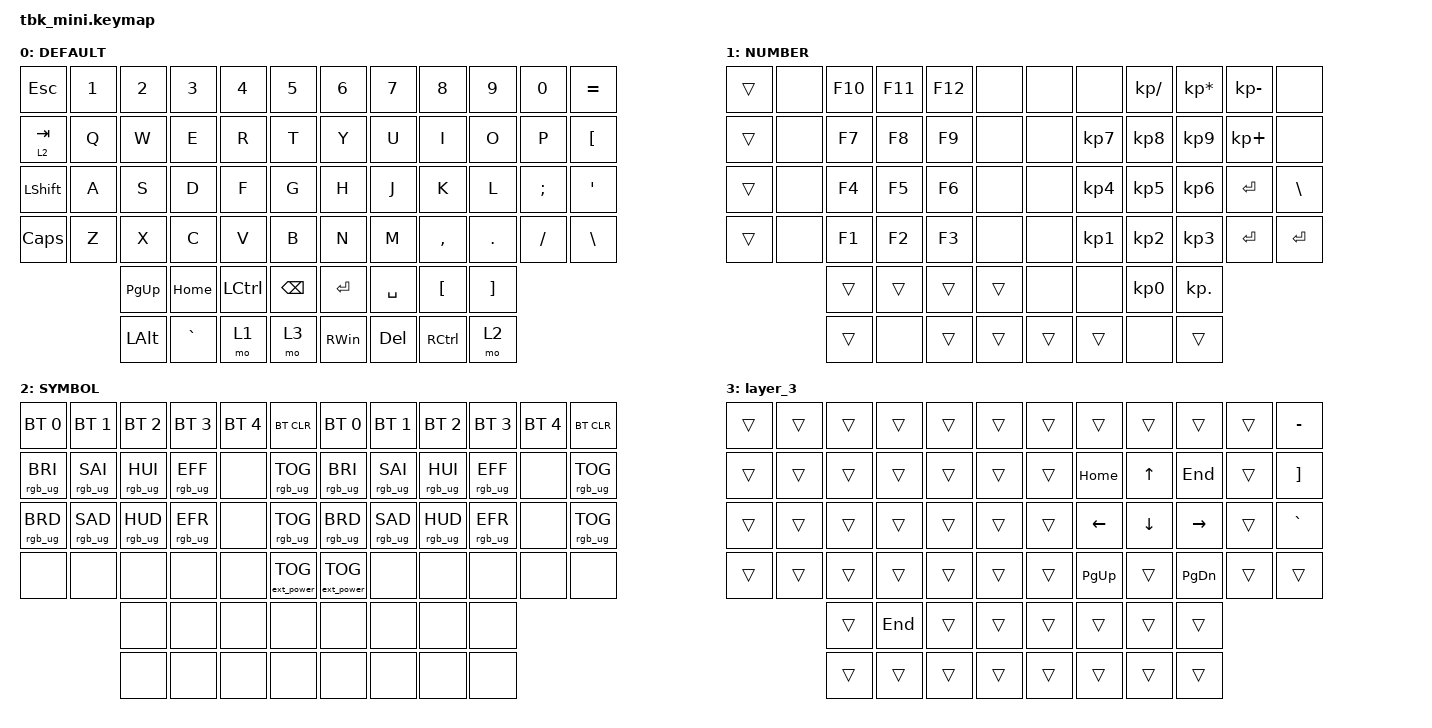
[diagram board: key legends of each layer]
/*
 * Copyright (c) 2020 The ZMK Contributors
 *
 * SPDX-License-Identifier: MIT
 */

#include <behaviors.dtsi>
#include <dt-bindings/zmk/bt.h>
#include <dt-bindings/zmk/ext_power.h>
#include <dt-bindings/zmk/keys.h>
#include <dt-bindings/zmk/rgb.h>

#define DEFAULT 0
#define NUMBER  1
#define SYMBOL  2
#define HOTKEY  3
#define SETTING 4

#define AS(keycode) &as LS(keycode) keycode

/ {
    behaviors {
        td0: tap_dance_0 {
            compatible = "zmk,behavior-tap-dance";
            label = "TAP_DANCE_0";
            #binding-cells = <0>;
            tapping-term-ms = <200>;
            bindings = <&mo 1>, <&to 1>, <&to 1>;
        };
    };

    behaviors {
        as: auto_shift {
            compatible = "zmk,behavior-hold-tap";
            label = "AUTO_SHIFT";
            #binding-cells = <2>;
            tapping-term-ms = <160>;
            quick-tap-ms = <0>;
            flavor = "tap-preferred";
            bindings = <&kp>, <&kp>;
        };

        modcp: mod_copy {
            compatible = "zmk,behavior-mod-morph";
            label = "MOD_COPY";
            #binding-cells = <0>;
            bindings = <&as LS(C) C>, <&kp C>;

            mods = <(LGUI | RGUI)>;
        };
    };

    macros {
        macro_phone: macro_phone {
            // 1351

            label = "MACRO_PHONE";
            compatible = "zmk,behavior-macro";
            #binding-cells = <0>;
            bindings = <&kp N1 &kp N3 &kp N5 &kp N1>;
        };

        macro_email_g: macro_email_g {
            // 135115

            compatible = "zmk,behavior-macro";
            label = "MACRO_EMAIL_GMAIL";
            #binding-cells = <0>;
            bindings = <&kp N1 &kp N3 &kp N5 &kp N1 &kp N1 &kp N5>;
        };
    };

    combos {
        compatible = "zmk,combos";

        combo_esc {
            timeout-ms = <50>;
            key-positions = <14 15 13 16>;
            bindings = <&kp ESC>;
        };

        combo_LSHFT {
            timeout-ms = <50>;
            key-positions = <26 27>;
            bindings = <&kp  LSHFT>;
        };

        RW {
            bindings = <&kp RIGHT_WIN>;
            key-positions = <7 8 9>;
        };

        MYENTER {
            bindings = <&kp ENTER>;
            key-positions = <31 32 33>;
        };
    };

    keymap {
        compatible = "zmk,keymap";

        default_layer {
            label = "DEFAULT";
            bindings = <
&kp ESC       &kp N1  &kp N2       &kp N3     &kp N4     &kp N5    &kp N6         &kp N7     &kp N8     &kp N9    &kp N0    &kp EQUAL
&lt 2 TAB     &kp Q   &kp W        &kp E      &kp R      &kp T     &kp Y          &kp U      &kp I      &kp O     &kp P     &kp LBKT
&kp LSHIFT    &kp A   &kp S        &kp D      &kp F      &kp G     &kp H          &kp J      &kp K      &kp L     &kp SEMI  &kp SQT
&kp CAPSLOCK  &kp Z   &kp X        &kp C      &kp V      &kp B     &kp N          &kp M      &kp COMMA  &kp DOT   &kp FSLH  &kp BACKSLASH
                      &kp PAGE_UP  &kp HOME   &kp LCTRL  &kp BSPC  &kp ENTER      &kp SPACE  &kp LBKT   &kp RBKT
                      &kp LALT     &kp GRAVE  &mo 1      &mo 3     &kp RIGHT_WIN  &kp DEL    &kp RCTRL  &mo 2
            >;
        };

        number_layer {
            label = "NUMBER";
            bindings = <
&trans  &none  &kp F10  &kp F11  &kp F12  &none   &none   &none      &kp KP_SLASH  &kp KP_MULTIPLY  &kp KP_MINUS  &none
&trans  &none  &kp F7   &kp F8   &kp F9   &none   &none   &kp KP_N7  &kp KP_N8     &kp KP_N9        &kp KP_PLUS   &none
&trans  &none  &kp F4   &kp F5   &kp F6   &none   &none   &kp KP_N4  &kp KP_N5     &kp KP_N6        &kp ENTER     &kp BSLH
&trans  &none  &kp F1   &kp F2   &kp F3   &none   &none   &kp KP_N1  &kp KP_N2     &kp KP_N3        &kp ENTER     &kp ENTER
               &trans   &trans   &trans   &trans  &none   &none      &kp KP_N0     &kp KP_DOT
               &trans   &none    &trans   &trans  &trans  &trans     &none         &trans
            >;
        };

        symbol_layer {
            label = "SYMBOL";
            bindings = <
&bt BT_SEL 0     &bt BT_SEL 1     &bt BT_SEL 2     &bt BT_SEL 3     &bt BT_SEL 4  &bt BT_CLR         &bt BT_SEL 0       &bt BT_SEL 1     &bt BT_SEL 2     &bt BT_SEL 3     &bt BT_SEL 4  &bt BT_CLR
&rgb_ug RGB_BRI  &rgb_ug RGB_SAI  &rgb_ug RGB_HUI  &rgb_ug RGB_EFF  &none         &rgb_ug RGB_TOG    &rgb_ug RGB_BRI    &rgb_ug RGB_SAI  &rgb_ug RGB_HUI  &rgb_ug RGB_EFF  &none         &rgb_ug RGB_TOG
&rgb_ug RGB_BRD  &rgb_ug RGB_SAD  &rgb_ug RGB_HUD  &rgb_ug RGB_EFR  &none         &rgb_ug RGB_TOG    &rgb_ug RGB_BRD    &rgb_ug RGB_SAD  &rgb_ug RGB_HUD  &rgb_ug RGB_EFR  &none         &rgb_ug RGB_TOG
&none            &none            &none            &none            &none         &ext_power EP_TOG  &ext_power EP_TOG  &none            &none            &none            &none         &none
                                  &none            &none            &none         &none              &none              &none            &none            &none
                                  &none            &none            &none         &none              &none              &none            &none            &none
            >;
        };

        layer_3 {
            bindings = <
&trans  &trans  &trans  &trans   &trans  &trans  &trans  &trans          &trans          &trans           &trans  &kp MINUS
&trans  &trans  &trans  &trans   &trans  &trans  &trans  &kp HOME        &kp UP_ARROW    &kp END          &trans  &kp RBKT
&trans  &trans  &trans  &trans   &trans  &trans  &trans  &kp LEFT_ARROW  &kp DOWN_ARROW  &kp RIGHT_ARROW  &trans  &kp GRAVE
&trans  &trans  &trans  &trans   &trans  &trans  &trans  &kp PG_UP       &trans          &kp PG_DN        &trans  &trans
                &trans  &kp END  &trans  &trans  &trans  &trans          &trans          &trans
                &trans  &trans   &trans  &trans  &trans  &trans          &trans          &trans
            >;
        };
    };
};
